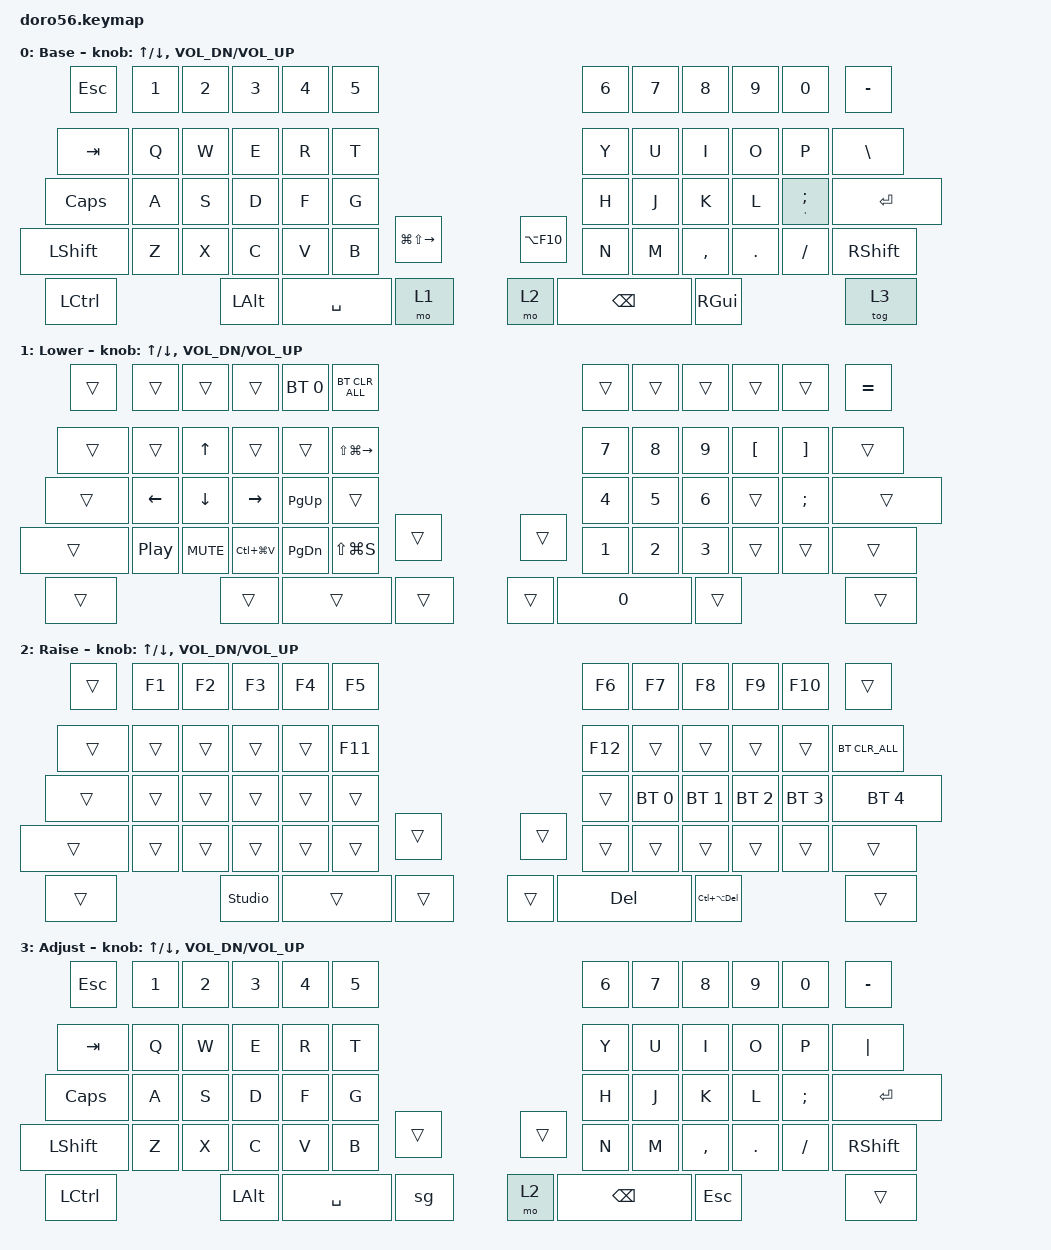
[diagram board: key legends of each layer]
#include <behaviors.dtsi>
#include <dt-bindings/zmk/bt.h>
#include <dt-bindings/zmk/keys.h>

/ {
    macros {
        sg: sg {
            compatible = "zmk,behavior-macro";
            #binding-cells = <0>;
            bindings = <&kp SPACE &kp C>;
            label = "SG";
            tap-ms = <4>;
        };
    };

    keymap {
        compatible = "zmk,keymap";

        Base {
            bindings = <
&kp ESC    &kp N1  &kp N2  &kp N3    &kp N4  &kp N5                                     &kp N6    &kp N7  &kp N8         &kp N9   &kp N0                    &kp MINUS
&kp TAB    &kp Q   &kp W   &kp E     &kp R   &kp T                                      &kp Y     &kp U   &kp I          &kp O    &kp P                     &kp BACKSLASH
&kp CAPS   &kp A   &kp S   &kp D     &kp F   &kp G                                      &kp H     &kp J   &kp K          &kp L    &mt APOSTROPHE SEMICOLON  &kp ENTER
&kp LSHFT  &kp Z   &kp X   &kp C     &kp V   &kp B      &kp LG(LS(RIGHT))  &kp LA(F10)  &kp N     &kp M   &kp COMMA      &kp DOT  &kp FSLH                  &kp RSHFT
&kp LCTRL                  &kp LALT          &kp SPACE  &mo 1              &mo 2        &kp BSPC          &kp RIGHT_GUI                                     &tog 3
            >;

            sensor-bindings = <&inc_dec_kp UP DOWN &inc_dec_kp C_VOL_DN C_VOL_UP>;
        };

        Lower {
            bindings = <
&trans  &trans            &trans      &trans         &bt BT_SEL 0     &bt BT_CLR_ALL               &trans  &trans        &trans  &trans            &trans             &kp EQUAL
&trans  &trans            &kp UP      &trans         &trans     &kp LS(LG(RIGHT))                  &kp N7  &kp N8        &kp N9  &kp LEFT_BRACKET  &kp RIGHT_BRACKET  &trans
&trans  &kp LEFT          &kp DOWN    &kp RIGHT      &kp PG_UP  &trans                             &kp N4  &kp N5        &kp N6  &trans            &kp SEMICOLON      &trans
&trans  &kp C_PLAY_PAUSE  &kp C_MUTE  &kp LC(LG(V))  &kp PG_DN  &kp LS(LG(S))      &trans  &trans  &kp N1  &kp NUMBER_2  &kp N3  &trans            &trans             &trans
&trans                                &trans                    &trans             &trans  &trans  &kp N0                &trans                                       &trans
            >;

            sensor-bindings = <&inc_dec_kp UP DOWN &inc_dec_kp C_VOL_DN C_VOL_UP>;
        };

        Raise {
            bindings = <
&trans  &kp F1  &kp F2  &kp F3  &kp F4  &kp F5                   &kp F6   &kp F7        &kp F8           &kp F9        &kp F10       &trans
&trans  &trans  &trans  &trans  &trans  &kp F11                  &kp F12  &trans        &trans           &trans        &trans        &bt BT_CLR_ALL
&trans  &trans  &trans  &trans  &trans  &trans                   &trans   &bt BT_SEL 0  &bt BT_SEL 1     &bt BT_SEL 2  &bt BT_SEL 3  &bt BT_SEL 4
&trans  &trans  &trans  &trans  &trans  &trans   &trans  &trans  &trans   &trans        &trans           &trans        &trans        &trans
&trans                  &studio_unlock  &trans   &trans  &trans  &kp DEL                &kp LC(LA(DEL))                              &trans
            >;

            sensor-bindings = <&inc_dec_kp UP DOWN &inc_dec_kp C_VOL_DN C_VOL_UP>;
        };

        Adjust {
            bindings = <
&kp ESC    &kp N1  &kp N2  &kp N3    &kp N4  &kp N5                     &kp N6    &kp N7  &kp N8     &kp N9   &kp N0    &kp MINUS
&kp TAB    &kp Q   &kp W   &kp E     &kp R   &kp T                      &kp Y     &kp U   &kp I      &kp O    &kp P     &kp PIPE
&kp CAPS   &kp A   &kp S   &kp D     &kp F   &kp G                      &kp H     &kp J   &kp K      &kp L    &kp SEMI  &kp ENTER
&kp LSHFT  &kp Z   &kp X   &kp C     &kp V   &kp B      &trans  &trans  &kp N     &kp M   &kp COMMA  &kp DOT  &kp FSLH  &kp RSHFT
&kp LCTRL                  &kp LALT          &kp SPACE  &sg     &mo 2   &kp BSPC          &kp ESC                       &trans
            >;

            sensor-bindings = <&inc_dec_kp UP DOWN &inc_dec_kp C_VOL_DN C_VOL_UP>;
        };
    };
};
